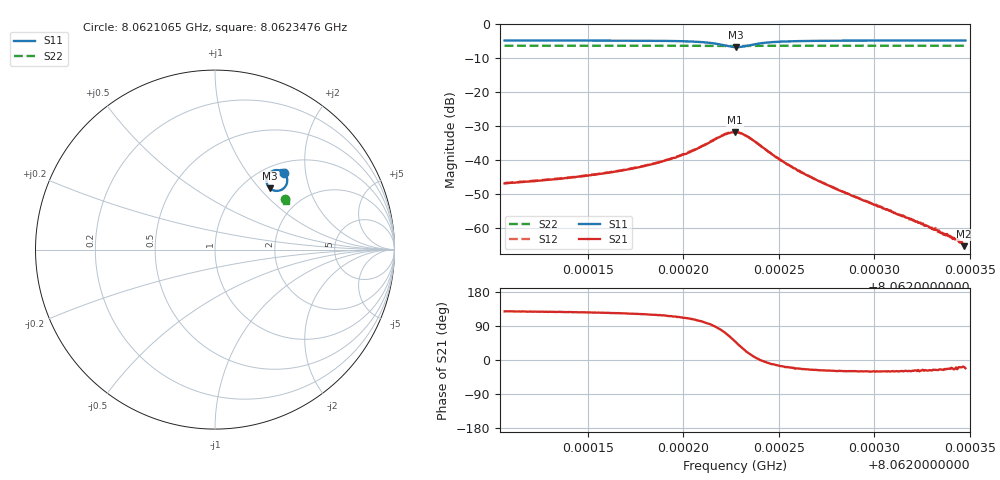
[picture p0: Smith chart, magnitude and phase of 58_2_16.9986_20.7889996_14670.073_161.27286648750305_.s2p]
#  HZ  S  RI  R  50.00
! Rohde & Schwarz Vector Network Analyzer
! Rohde-Schwarz,ZNB20-2Port,1311601062101988,3.16
! Created: UTC 3/20/2024, 10:54:41 PM
! freq[Hz]  re:S11  im:S11  re:S21  im:S21  re:S12  im:S12  re:S22  im:S22
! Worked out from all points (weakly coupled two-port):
!   401 points, 8.0621065 GHz to 8.0623476 GHz, reference 50 ohm
!   highest |S21| = -31.83 dB at 8.0622271 GHz (marker M1); lowest = -65.4 dB at 8.062347 GHz (marker M2)
!   lowest |S11| = -6.8 dB at 8.0622277 GHz (marker M3), VSWR 2.70, Z = 66.3 + j57.2 ohm
!   |S11| at or under -10 dB: nowhere
!   |S22| runs from -6.4 to -6.3 dB; largest |S21 - S12| = 0.0019
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8.06210654e9  0.3847 0.4278  -0.0028 0.00355  -0.00263 0.00374  0.3892 0.2843
8.06214693e9  0.3904 0.4212  -0.00335 0.00466  -0.00314 0.00491  0.3904 0.282
8.06217043e9  0.3951 0.4139  -0.00391 0.00606  -0.00357 0.00636  0.3914 0.2806
8.06218731e9  0.3994 0.4042  -0.00433 0.00804  -0.00391 0.00846  0.3919 0.2793
8.06219696e9  0.4017 0.3942  -0.00447 0.0104  -0.00392 0.0106  0.3922 0.2784
8.06220238e9  0.4026 0.3858  -0.00431 0.012  -0.00355 0.0125  0.3922 0.2779
8.06221383e9  0.3943 0.3552  -0.00159 0.0181  -0.000221 0.0185  0.3918 0.2761
8.06222227e9  0.354 0.3278  0.00799 0.0226  0.00988 0.0224  0.3899 0.2751
8.0622271e9  0.3123 0.3367  0.0167 0.0194  0.0183 0.0183  0.3884 0.2761
8.0622277e9  0.3077 0.3405  0.0176 0.0185  0.0191 0.0173  0.3884 0.2762
8.06223011e9  0.2931 0.3582  0.0202 0.0141  0.0213 0.0128  0.388 0.2772
8.06223312e9  0.2865 0.3837  0.0209 0.00836  0.0215 0.00701  0.3883 0.2781
8.06224216e9  0.3087 0.4308  0.0149 -0.000964  0.0148 -0.00183  0.3903 0.2793
8.06225181e9  0.3337 0.4421  0.00922 -0.00275  0.00905 -0.00338  0.3917 0.2789
8.06226748e9  0.3544 0.4423  0.00491 -0.00237  0.00478 -0.00267  0.3931 0.2779
8.06228074e9  0.3633 0.44  0.00319 -0.00178  0.00315 -0.00197  0.3939 0.2771
8.06230787e9  0.373 0.4359  0.00154 -0.000901  0.00149 -0.00102  0.3951 0.2756
8.06233258e9  0.3781 0.4328  0.000835 -0.000413  0.000784 -0.00045  0.3959 0.2742
8.06233499e9  0.3784 0.4327  0.000754 -0.000357  0.000758 -0.000367  0.396 0.274
8.06234283e9  0.3796 0.4318  0.00065 -0.000229  0.000637 -0.000308  0.3962 0.2737
8.06234705e9  0.3801 0.4315  0.000509 -0.000174  0.000519 -0.000242  0.3964 0.2734
8.06234765e9  0.3802 0.4314  0.000525 -0.00021  0.000521 -0.000217  0.3964 0.2734
